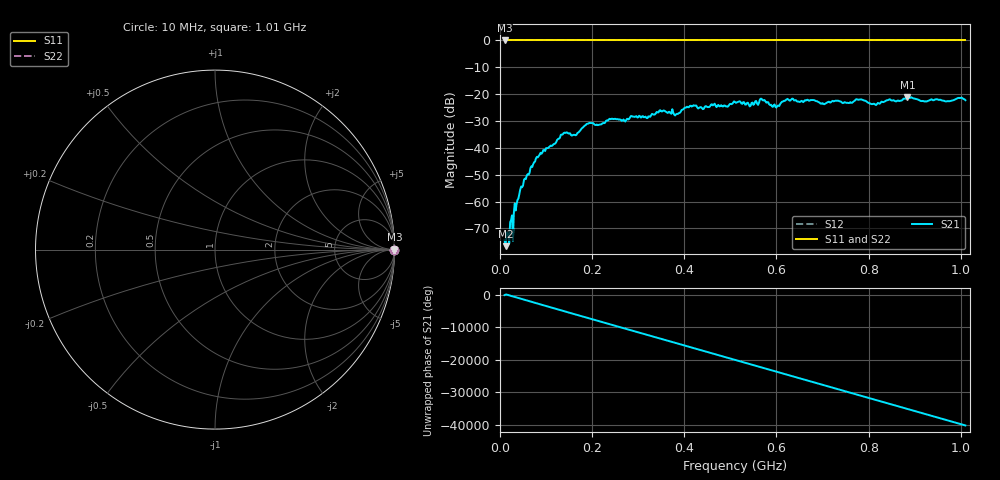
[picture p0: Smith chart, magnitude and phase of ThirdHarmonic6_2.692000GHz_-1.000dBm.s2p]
! 8/17/2025 6:23:43 AM
! C:\ANRITSUVNA\TEMP\TEMP.S2P
! CHANNEL.1
! TR.MEASUREMENT
! RAW.DATA
! RF.CORRECTION.OFF
! AVERAGING.OFF
! IF.BANDWIDTH: 5KHZ
! SWEEPTYPE:  FREQ.SWEEP(Linear)
! Reference Plane Port Info
! PORT:  PORT1  PORT2
! DISTANCE:  0  m  0  m
! TIME:  0  s  0  s
! PHASE.OFFSET:  0  deg.  0  deg.
! LOSS:  0  dB  0  dB
! REF.LOSS:  0  dB  0  dB
! REF.FREQ:  0  Hz  0  Hz
! Power Info
! POWER:  -20  dBm  -20  dBm
! EFF.POWER:  -20  dBm  -20  dBm
! SOURCE.ATTEN:  0  dB  0  dB
! TEST.ATTEN:  0  dB  0  dB
# GHZ S RI R 50.0
! FREQ.GHZ  S11RE  S11IM  S21RE  S21IM  S12RE  S12IM  S22RE  S22IM
!; PortSelection: Port_12
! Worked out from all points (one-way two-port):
!   501 points, 10 MHz to 1.01 GHz, reference 50 ohm
!   highest |S21| = -21.03 dB at 884 MHz (marker M1); lowest = -76.6 dB at 12 MHz (marker M2)
!   lowest |S11| = 0.0 dB at 10 MHz (marker M3)
!   |S11| at or under -10 dB: nowhere
!   |S22| runs from 0.0 to 0.0 dB; largest |S21 - S12| = 1.1
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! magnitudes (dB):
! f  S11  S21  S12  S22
! 10 MHz  0.0  -74.4  0.0  0.0
! 12 MHz  0.0  -76.6  0.0  0.0
! 24 MHz  0.0  -66.9  0.0  0.0
! 34 MHz  0.0  -63.4  0.0  0.0
! 48 MHz  0.0  -54.7  0.0  0.0
! 78 MHz  0.0  -44.0  0.0  0.0
! 136 MHz  0.0  -35.0  0.0  0.0
! 162 MHz  0.0  -35.2  0.0  0.0
! 178 MHz  0.0  -32.7  0.0  0.0
! 344 MHz  0.0  -26.8  0.0  0.0
! 382 MHz  0.0  -27.5  0.0  0.0
! 416 MHz  0.0  -24.6  0.0  0.0
! 510 MHz  0.0  -22.9  0.0  0.0
! 546 MHz  0.0  -23.2  0.0  0.0
! 570 MHz  0.0  -22.3  0.0  0.0
! 602 MHz  0.0  -24.3  0.0  0.0
! 622 MHz  0.0  -22.0  0.0  0.0
! 678 MHz  0.0  -22.2  0.0  0.0
! 814 MHz  0.0  -23.9  0.0  0.0
! 844 MHz  0.0  -22.1  0.0  0.0
! 884 MHz  0.0  -21.0  0.0  0.0
! 1.01 GHz  0.0  -22.3  0.0  0.0
